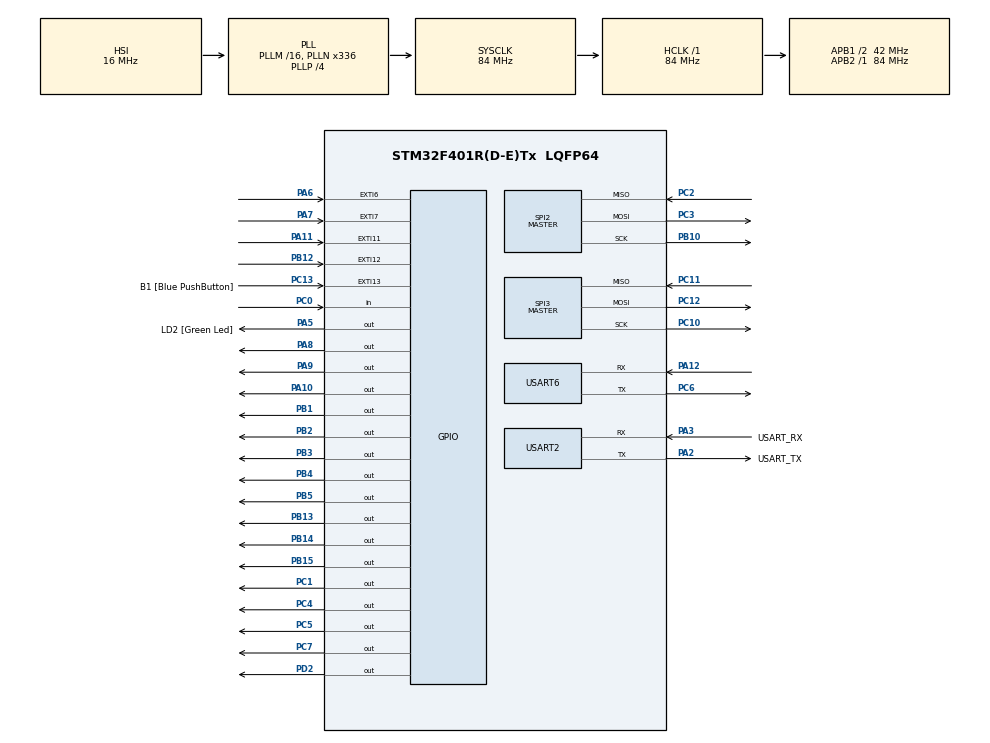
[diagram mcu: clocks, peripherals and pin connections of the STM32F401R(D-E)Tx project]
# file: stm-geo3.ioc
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FREERTOS.Tasks01=defaultTask,0,128,StartDefaultTask,Default,NULL,Dynamic,NULL,NULL;getAdcTask,-3,128,StartAdcTask,Default,NULL,Dynamic,NULL,NULL
Mcu.Family=STM32F4
Mcu.Name=STM32F401R(D-E)Tx
Mcu.Package=LQFP64
NVIC.EXTI15_10_IRQn=true\:5\:0\:false\:false\:true\:true\:true\:true
NVIC.EXTI9_5_IRQn=true\:5\:0\:false\:false\:true\:true\:true\:true
NVIC.PriorityGroup=NVIC_PRIORITYGROUP_4
NVIC.TIM1_UP_TIM10_IRQn=true\:0\:0\:false\:false\:true\:false\:false\:true
NVIC.TIM4_IRQn=true\:5\:0\:false\:false\:true\:true\:true\:true
NVIC.TimeBase=TIM1_UP_TIM10_IRQn
NVIC.TimeBaseIP=TIM1
PA10.Signal=GPIO_Output
PA11.GPIO_PuPd=GPIO_PULLUP
PA11.Signal=GPXTI11
PA12.Mode=Asynchronous
PA12.Signal=USART6_RX
PA13.GPIO_Label=TMS
PA13.Mode=Serial_Wire
PA13.Signal=SYS_JTMS-SWDIO
PA14.GPIO_Label=TCK
PA14.Mode=Serial_Wire
PA14.Signal=SYS_JTCK-SWCLK
PA2.GPIO_Label=USART_TX
PA2.GPIO_Mode=GPIO_MODE_AF_PP
PA2.GPIO_PuPd=GPIO_NOPULL
PA2.GPIO_Speed=GPIO_SPEED_FREQ_LOW
PA2.Mode=Asynchronous
PA2.Signal=USART2_TX
PA3.GPIO_Label=USART_RX
PA3.GPIO_Mode=GPIO_MODE_AF_PP
PA3.GPIO_PuPd=GPIO_NOPULL
PA3.GPIO_Speed=GPIO_SPEED_FREQ_LOW
PA3.Mode=Asynchronous
PA3.Signal=USART2_RX
PA5.GPIO_Label=LD2 [Green Led]
PA5.GPIO_Mode=GPIO_MODE_OUTPUT_PP
PA5.GPIO_PuPd=GPIO_NOPULL
PA5.GPIO_Speed=GPIO_SPEED_FREQ_LOW
PA5.Signal=GPIO_Output
PA6.GPIO_PuPd=GPIO_PULLUP
PA6.Signal=GPXTI6
PA7.GPIO_PuPd=GPIO_PULLUP
PA7.Signal=GPXTI7
PA8.Signal=GPIO_Output
PA9.Signal=GPIO_Output
PB1.Signal=GPIO_Output
PB10.Mode=Full_Duplex_Master
PB10.Signal=SPI2_SCK
PB12.GPIO_PuPd=GPIO_PULLUP
PB12.Signal=GPXTI12
PB13.Signal=GPIO_Output
PB14.Signal=GPIO_Output
PB15.Signal=GPIO_Output
PB2.Signal=GPIO_Output
PB3.Signal=GPIO_Output
PB4.Signal=GPIO_Output
PB5.Signal=GPIO_Output
PC0.Signal=GPIO_Input
PC1.Signal=GPIO_Output
PC10.Mode=Full_Duplex_Master
PC10.Signal=SPI3_SCK
PC11.Mode=Full_Duplex_Master
PC11.Signal=SPI3_MISO
PC12.Mode=Full_Duplex_Master
PC12.Signal=SPI3_MOSI
PC13-ANTI_TAMP.GPIO_Label=B1 [Blue PushButton]
PC13-ANTI_TAMP.GPIO_ModeDefaultEXTI=GPIO_MODE_IT_FALLING
PC13-ANTI_TAMP.GPIO_PuPd=GPIO_NOPULL
PC13-ANTI_TAMP.Signal=GPXTI13
PC14-OSC32_IN.Mode=LSE-External-Oscillator
PC14-OSC32_IN.Signal=RCC_OSC32_IN
PC15-OSC32_OUT.Mode=LSE-External-Oscillator
PC15-OSC32_OUT.Signal=RCC_OSC32_OUT
PC2.Mode=Full_Duplex_Master
PC2.Signal=SPI2_MISO
PC3.Mode=Full_Duplex_Master
PC3.Signal=SPI2_MOSI
PC4.Signal=GPIO_Output
PC5.Signal=GPIO_Output
PC6.Mode=Asynchronous
PC6.Signal=USART6_TX
PC7.Signal=GPIO_Output
PD2.Signal=GPIO_Output
PH0\ -\ OSC_IN.Mode=HSE-External-Clock-Source
PH0\ -\ OSC_IN.Signal=RCC_OSC_IN
PH1\ -\ OSC_OUT.Mode=HSE-External-Clock-Source
PH1\ -\ OSC_OUT.Signal=RCC_OSC_OUT
ProjectManager.HeapSize=0x200
ProjectManager.StackSize=0x400
ProjectManager.TargetToolchain=STM32CubeIDE
RCC.48MHZClocksFreq_Value=48000000
RCC.AHBFreq_Value=84000000
RCC.APB1CLKDivider=RCC_HCLK_DIV2
RCC.APB1Freq_Value=42000000
RCC.APB1TimFreq_Value=84000000
RCC.APB2Freq_Value=84000000
RCC.APB2TimFreq_Value=84000000
RCC.CortexFreq_Value=84000000
RCC.HCLKFreq_Value=84000000
RCC.HSE_VALUE=8000000
RCC.HSI_VALUE=16000000
RCC.PLLN=336
RCC.PLLP=RCC_PLLP_DIV4
RCC.PLLQ=7
RCC.SYSCLKFreq_VALUE=84000000
RCC.SYSCLKSource=RCC_SYSCLKSOURCE_PLLCLK
RCC.VCOOutputFreq_Value=336000000
SPI2.BaudRatePrescaler=SPI_BAUDRATEPRESCALER_16
SPI2.CLKPhase=SPI_PHASE_2EDGE
SPI2.Direction=SPI_DIRECTION_2LINES
SPI2.Mode=SPI_MODE_MASTER
SPI2.VirtualType=VM_MASTER
SPI3.Direction=SPI_DIRECTION_2LINES
SPI3.Mode=SPI_MODE_MASTER
SPI3.VirtualType=VM_MASTER
TIM4.Period=49999
TIM4.Prescaler=83
USART2.VirtualMode=VM_ASYNC
USART6.VirtualMode=VM_ASYNC
VP_FATFS_VS_Generic.Mode=User_defined
VP_FREERTOS_VS_CMSIS_V1.Mode=CMSIS_V1
VP_SYS_VS_tim1.Mode=TIM1
VP_TIM4_VS_ClockSourceITR.Mode=TriggerSource_ITR0
board=NUCLEO-F401RE

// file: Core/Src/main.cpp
/* USER CODE BEGIN Header */
/**
  ******************************************************************************
  * @file           : main.c
  * @brief          : Main program body
  ******************************************************************************
  * @attention
  *
  * <h2><center>&copy; Copyright (c) 2020 STMicroelectronics.
  * All rights reserved.</center></h2>
  *
  * This software component is licensed by ST under Ultimate Liberty license
  * SLA0044, the "License"; You may not use this file except in compliance with
  * the License. You may obtain a copy of the License at:
  *                             www.st.com/SLA0044
  *
  ******************************************************************************
  */
/* USER CODE END Header */

#include "main.h"
#include "cmsis_os.h"
#include "fatfs.h"

/* USER CODE BEGIN Includes */
#include "lcd_menu.h"
#include "lcd_melt.h"
#include "ADC.h"
#include "SD_calls.h"
#include "eeprom_calls.h"
#include "menu_callback.h"
#include "encoder.h"
#include "debug.h"
#include "H-bridge.h"
/* USER CODE END Includes */

/* USER CODE BEGIN PD */
#define display_width 41  //20 rus char + /0
/* USER CODE END PD */

SPI_HandleTypeDef hspi2;
SPI_HandleTypeDef hspi3;

TIM_HandleTypeDef htim4;

UART_HandleTypeDef huart2;
UART_HandleTypeDef huart6;

osThreadId defaultTaskHandle;
osThreadId getAdcTaskHandle;

void SystemClock_Config(void);
static void MX_GPIO_Init(void);
static void MX_USART2_UART_Init(void);
static void MX_SPI2_Init(void);
static void MX_SPI3_Init(void);
static void MX_TIM4_Init(void);
static void MX_USART6_UART_Init(void);
void StartDefaultTask(void const * argument);
void StartAdcTask(void const * argument);

/* USER CODE BEGIN 0 */
void HAL_GPIO_EXTI_Callback(uint16_t GPIO_Pin)
{
	static uint16_t progtime;
	switch(GPIO_Pin)
	{

	case GPIO_PIN_12:  //reset
		if (HAL_GetTick()-progtime>1000)
		{
			reset_button=1;
			progtime=HAL_GetTick();
		}
		break;
	case GPIO_PIN_11:  //ok
		if (HAL_GetTick()-progtime>500)
		{
			ok_button=1;
			progtime=HAL_GetTick();
		}
		break;
	case GPIO_PIN_7:  //encoder
		if (HAL_GetTick()-progtime>500)
		{
			kill_read=1;
			progtime=HAL_GetTick();
		}
		break;
	}
}

/* USER CODE END 0 */

int main(void)
{

  /* MCU Configuration--------------------------------------------------------*/

  /* Reset of all peripherals, Initializes the Flash interface and the Systick. */
  HAL_Init();

  /* Configure the system clock */
  SystemClock_Config();

  /* Initialize all configured peripherals */
  MX_GPIO_Init();
  MX_USART2_UART_Init();
  MX_SPI2_Init();
  MX_SPI3_Init();
  MX_TIM4_Init();
  MX_USART6_UART_Init();
  MX_FATFS_Init();
  /* USER CODE BEGIN 2 */
	ADC_init();
	LCD_ini();
	menu_init();
	startMenu();
	SD_init();
	//flash_init();
//	enc1.setType(1);//энкодер
	encoder_clear();

	debug("hello\n");
	//manual_mode();
  /* USER CODE END 2 */

  /* Create the thread(s) */
  /* definition and creation of defaultTask */
  osThreadDef(defaultTask, StartDefaultTask, osPriorityNormal, 0, 128);
  defaultTaskHandle = osThreadCreate(osThread(defaultTask), NULL);

  /* definition and creation of getAdcTask */
  osThreadDef(getAdcTask, StartAdcTask, osPriorityNormal, 0, 128);
  getAdcTaskHandle = osThreadCreate(osThread(getAdcTask), NULL);

  /* Start scheduler */
  osKernelStart();

  /* We should never get here as control is now taken by the scheduler */
  /* Infinite loop */
  while (1)
  {

  }
}

void SystemClock_Config(void)
{
  RCC_OscInitTypeDef RCC_OscInitStruct = {0};
  RCC_ClkInitTypeDef RCC_ClkInitStruct = {0};

  /** Configure the main internal regulator output voltage
  */
  __HAL_RCC_PWR_CLK_ENABLE();
  __HAL_PWR_VOLTAGESCALING_CONFIG(PWR_REGULATOR_VOLTAGE_SCALE2);
  /** Initializes the CPU, AHB and APB busses clocks
  */
  RCC_OscInitStruct.OscillatorType = RCC_OSCILLATORTYPE_HSI;
  RCC_OscInitStruct.HSIState = RCC_HSI_ON;
  RCC_OscInitStruct.HSICalibrationValue = RCC_HSICALIBRATION_DEFAULT;
  RCC_OscInitStruct.PLL.PLLState = RCC_PLL_ON;
  RCC_OscInitStruct.PLL.PLLSource = RCC_PLLSOURCE_HSI;
  RCC_OscInitStruct.PLL.PLLM = 16;
  RCC_OscInitStruct.PLL.PLLN = 336;
  RCC_OscInitStruct.PLL.PLLP = RCC_PLLP_DIV4;
  RCC_OscInitStruct.PLL.PLLQ = 7;
  if (HAL_RCC_OscConfig(&RCC_OscInitStruct) != HAL_OK)
  {
    Error_Handler();
  }
  /** Initializes the CPU, AHB and APB busses clocks
  */
  RCC_ClkInitStruct.ClockType = RCC_CLOCKTYPE_HCLK|RCC_CLOCKTYPE_SYSCLK
                              |RCC_CLOCKTYPE_PCLK1|RCC_CLOCKTYPE_PCLK2;
  RCC_ClkInitStruct.SYSCLKSource = RCC_SYSCLKSOURCE_PLLCLK;
  RCC_ClkInitStruct.AHBCLKDivider = RCC_SYSCLK_DIV1;
  RCC_ClkInitStruct.APB1CLKDivider = RCC_HCLK_DIV2;
  RCC_ClkInitStruct.APB2CLKDivider = RCC_HCLK_DIV1;

  if (HAL_RCC_ClockConfig(&RCC_ClkInitStruct, FLASH_LATENCY_2) != HAL_OK)
  {
    Error_Handler();
  }
}

static void MX_SPI2_Init(void)
{

  /* SPI2 parameter configuration*/
  hspi2.Instance = SPI2;
  hspi2.Init.Mode = SPI_MODE_MASTER;
  hspi2.Init.Direction = SPI_DIRECTION_2LINES;
  hspi2.Init.DataSize = SPI_DATASIZE_8BIT;
  hspi2.Init.CLKPolarity = SPI_POLARITY_LOW;
  hspi2.Init.CLKPhase = SPI_PHASE_2EDGE;
  hspi2.Init.NSS = SPI_NSS_SOFT;
  hspi2.Init.BaudRatePrescaler = SPI_BAUDRATEPRESCALER_16;
  hspi2.Init.FirstBit = SPI_FIRSTBIT_MSB;
  hspi2.Init.TIMode = SPI_TIMODE_DISABLE;
  hspi2.Init.CRCCalculation = SPI_CRCCALCULATION_DISABLE;
  hspi2.Init.CRCPolynomial = 10;
  if (HAL_SPI_Init(&hspi2) != HAL_OK)
  {
    Error_Handler();
  }

}

static void MX_SPI3_Init(void)
{

  /* SPI3 parameter configuration*/
  hspi3.Instance = SPI3;
  hspi3.Init.Mode = SPI_MODE_MASTER;
  hspi3.Init.Direction = SPI_DIRECTION_2LINES;
  hspi3.Init.DataSize = SPI_DATASIZE_8BIT;
  hspi3.Init.CLKPolarity = SPI_POLARITY_LOW;
  hspi3.Init.CLKPhase = SPI_PHASE_1EDGE;
  hspi3.Init.NSS = SPI_NSS_SOFT;
  hspi3.Init.BaudRatePrescaler = SPI_BAUDRATEPRESCALER_2;
  hspi3.Init.FirstBit = SPI_FIRSTBIT_MSB;
  hspi3.Init.TIMode = SPI_TIMODE_DISABLE;
  hspi3.Init.CRCCalculation = SPI_CRCCALCULATION_DISABLE;
  hspi3.Init.CRCPolynomial = 10;
  if (HAL_SPI_Init(&hspi3) != HAL_OK)
  {
    Error_Handler();
  }

}

static void MX_TIM4_Init(void)
{

  TIM_SlaveConfigTypeDef sSlaveConfig = {0};
  TIM_MasterConfigTypeDef sMasterConfig = {0};

  htim4.Instance = TIM4;
  htim4.Init.Prescaler = 83;
  htim4.Init.CounterMode = TIM_COUNTERMODE_UP;
  htim4.Init.Period = 49999;
  htim4.Init.ClockDivision = TIM_CLOCKDIVISION_DIV1;
  htim4.Init.AutoReloadPreload = TIM_AUTORELOAD_PRELOAD_DISABLE;
  if (HAL_TIM_Base_Init(&htim4) != HAL_OK)
  {
    Error_Handler();
  }
  sSlaveConfig.SlaveMode = TIM_SLAVEMODE_DISABLE;
  sSlaveConfig.InputTrigger = TIM_TS_ITR0;
  if (HAL_TIM_SlaveConfigSynchro(&htim4, &sSlaveConfig) != HAL_OK)
  {
    Error_Handler();
  }
  sMasterConfig.MasterOutputTrigger = TIM_TRGO_RESET;
  sMasterConfig.MasterSlaveMode = TIM_MASTERSLAVEMODE_DISABLE;
  if (HAL_TIMEx_MasterConfigSynchronization(&htim4, &sMasterConfig) != HAL_OK)
  {
    Error_Handler();
  }

}

static void MX_USART2_UART_Init(void)
{

  huart2.Instance = USART2;
  huart2.Init.BaudRate = 115200;
  huart2.Init.WordLength = UART_WORDLENGTH_8B;
  huart2.Init.StopBits = UART_STOPBITS_1;
  huart2.Init.Parity = UART_PARITY_NONE;
  huart2.Init.Mode = UART_MODE_TX_RX;
  huart2.Init.HwFlowCtl = UART_HWCONTROL_NONE;
  huart2.Init.OverSampling = UART_OVERSAMPLING_16;
  if (HAL_UART_Init(&huart2) != HAL_OK)
  {
    Error_Handler();
  }

}

static void MX_USART6_UART_Init(void)
{

  huart6.Instance = USART6;
  huart6.Init.BaudRate = 115200;
  huart6.Init.WordLength = UART_WORDLENGTH_8B;
  huart6.Init.StopBits = UART_STOPBITS_1;
  huart6.Init.Parity = UART_PARITY_NONE;
  huart6.Init.Mode = UART_MODE_TX_RX;
  huart6.Init.HwFlowCtl = UART_HWCONTROL_NONE;
  huart6.Init.OverSampling = UART_OVERSAMPLING_16;
  if (HAL_UART_Init(&huart6) != HAL_OK)
  {
    Error_Handler();
  }

}

static void MX_GPIO_Init(void)
{
  GPIO_InitTypeDef GPIO_InitStruct = {0};

  /* GPIO Ports Clock Enable */
  __HAL_RCC_GPIOC_CLK_ENABLE();
  __HAL_RCC_GPIOH_CLK_ENABLE();
  __HAL_RCC_GPIOA_CLK_ENABLE();
  __HAL_RCC_GPIOB_CLK_ENABLE();
  __HAL_RCC_GPIOD_CLK_ENABLE();

  /*Configure GPIO pin Output Level */
  HAL_GPIO_WritePin(GPIOC, GPIO_PIN_1|GPIO_PIN_4|GPIO_PIN_5|GPIO_PIN_7, GPIO_PIN_RESET);

  /*Configure GPIO pin Output Level */
  HAL_GPIO_WritePin(GPIOA, LD2_Pin|GPIO_PIN_8|GPIO_PIN_9|GPIO_PIN_10, GPIO_PIN_RESET);

  /*Configure GPIO pin Output Level */
  HAL_GPIO_WritePin(GPIOB, GPIO_PIN_1|GPIO_PIN_2|GPIO_PIN_13|GPIO_PIN_14
                          |GPIO_PIN_15|GPIO_PIN_3|GPIO_PIN_4|GPIO_PIN_5, GPIO_PIN_RESET);

  /*Configure GPIO pin Output Level */
  HAL_GPIO_WritePin(GPIOD, GPIO_PIN_2, GPIO_PIN_RESET);

  /*Configure GPIO pin : B1_Pin */
  GPIO_InitStruct.Pin = B1_Pin;
  GPIO_InitStruct.Mode = GPIO_MODE_IT_FALLING;
  GPIO_InitStruct.Pull = GPIO_NOPULL;
  HAL_GPIO_Init(B1_GPIO_Port, &GPIO_InitStruct);

  /*Configure GPIO pin : PC0 */
  GPIO_InitStruct.Pin = GPIO_PIN_0;
  GPIO_InitStruct.Mode = GPIO_MODE_INPUT;
  GPIO_InitStruct.Pull = GPIO_NOPULL;
  HAL_GPIO_Init(GPIOC, &GPIO_InitStruct);

  /*Configure GPIO pins : PC1 PC4 PC5 PC7 */
  GPIO_InitStruct.Pin = GPIO_PIN_1|GPIO_PIN_4|GPIO_PIN_5|GPIO_PIN_7;
  GPIO_InitStruct.Mode = GPIO_MODE_OUTPUT_PP;
  GPIO_InitStruct.Pull = GPIO_NOPULL;
  GPIO_InitStruct.Speed = GPIO_SPEED_FREQ_LOW;
  HAL_GPIO_Init(GPIOC, &GPIO_InitStruct);

  /*Configure GPIO pins : LD2_Pin PA8 PA9 PA10 */
  GPIO_InitStruct.Pin = LD2_Pin|GPIO_PIN_8|GPIO_PIN_9|GPIO_PIN_10;
  GPIO_InitStruct.Mode = GPIO_MODE_OUTPUT_PP;
  GPIO_InitStruct.Pull = GPIO_NOPULL;
  GPIO_InitStruct.Speed = GPIO_SPEED_FREQ_LOW;
  HAL_GPIO_Init(GPIOA, &GPIO_InitStruct);

  /*Configure GPIO pins : PA6 PA7 PA11 */
  GPIO_InitStruct.Pin = GPIO_PIN_6|GPIO_PIN_7|GPIO_PIN_11;
  GPIO_InitStruct.Mode = GPIO_MODE_IT_RISING;
  GPIO_InitStruct.Pull = GPIO_PULLUP;
  HAL_GPIO_Init(GPIOA, &GPIO_InitStruct);

  /*Configure GPIO pins : PB1 PB2 PB13 PB14
                           PB15 PB3 PB4 PB5 */
  GPIO_InitStruct.Pin = GPIO_PIN_1|GPIO_PIN_2|GPIO_PIN_13|GPIO_PIN_14
                          |GPIO_PIN_15|GPIO_PIN_3|GPIO_PIN_4|GPIO_PIN_5;
  GPIO_InitStruct.Mode = GPIO_MODE_OUTPUT_PP;
  GPIO_InitStruct.Pull = GPIO_NOPULL;
  GPIO_InitStruct.Speed = GPIO_SPEED_FREQ_LOW;
  HAL_GPIO_Init(GPIOB, &GPIO_InitStruct);

  /*Configure GPIO pin : PB12 */
  GPIO_InitStruct.Pin = GPIO_PIN_12;
  GPIO_InitStruct.Mode = GPIO_MODE_IT_RISING;
  GPIO_InitStruct.Pull = GPIO_PULLUP;
  HAL_GPIO_Init(GPIOB, &GPIO_InitStruct);

  /*Configure GPIO pin : PD2 */
  GPIO_InitStruct.Pin = GPIO_PIN_2;
  GPIO_InitStruct.Mode = GPIO_MODE_OUTPUT_PP;
  GPIO_InitStruct.Pull = GPIO_NOPULL;
  GPIO_InitStruct.Speed = GPIO_SPEED_FREQ_LOW;
  HAL_GPIO_Init(GPIOD, &GPIO_InitStruct);

  /* EXTI interrupt init*/
  HAL_NVIC_SetPriority(EXTI9_5_IRQn, 5, 0);
  HAL_NVIC_EnableIRQ(EXTI9_5_IRQn);

  HAL_NVIC_SetPriority(EXTI15_10_IRQn, 5, 0);
  HAL_NVIC_EnableIRQ(EXTI15_10_IRQn);

}

void StartDefaultTask(void const * argument)
{
  /* USER CODE BEGIN 5 */
  /* Infinite loop */
  for(;;)
  {
	  read_encoder();
    osDelay(1);
  }
  /* USER CODE END 5 */
}

void StartAdcTask(void const * argument)
{
  for(;;)
  {
    osDelay(1);
  }
}

 /**
  * @brief  Period elapsed callback in non blocking mode
  * @note   This function is called  when TIM1 interrupt took place, inside
  * HAL_TIM_IRQHandler(). It makes a direct call to HAL_IncTick() to increment
  * a global variable "uwTick" used as application time base.
  * @param  htim : TIM handle
  * @retval None
  */
void HAL_TIM_PeriodElapsedCallback(TIM_HandleTypeDef *htim)
{
  if (htim->Instance == TIM1) {
    HAL_IncTick();
  }
}

void Error_Handler(void)
{
}

/************************ (C) COPYRIGHT STMicroelectronics *****END OF FILE****/
